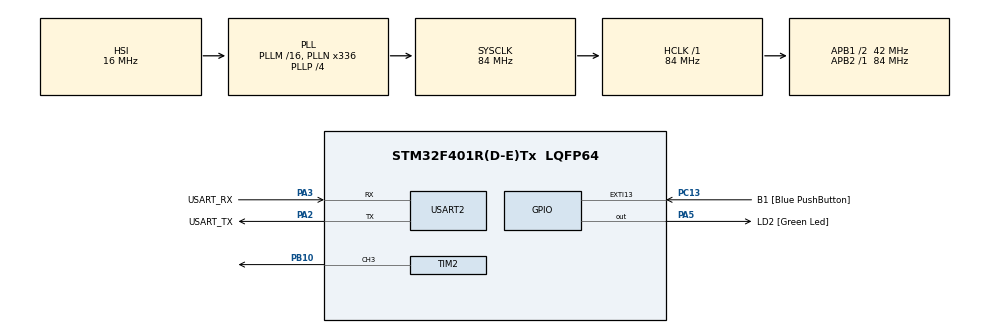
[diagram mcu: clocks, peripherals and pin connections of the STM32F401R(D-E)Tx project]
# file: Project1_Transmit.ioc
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Mcu.Family=STM32F4
Mcu.Name=STM32F401R(D-E)Tx
Mcu.Package=LQFP64
NVIC.PriorityGroup=NVIC_PRIORITYGROUP_0
NVIC.TIM3_IRQn=true\:0\:0\:false\:false\:true\:true\:true\:true
PA13.GPIO_Label=TMS
PA13.Mode=Serial_Wire
PA13.Signal=SYS_JTMS-SWDIO
PA14.GPIO_Label=TCK
PA14.Mode=Serial_Wire
PA14.Signal=SYS_JTCK-SWCLK
PA2.GPIO_Label=USART_TX
PA2.GPIO_Mode=GPIO_MODE_AF_PP
PA2.GPIO_PuPd=GPIO_NOPULL
PA2.GPIO_Speed=GPIO_SPEED_FREQ_LOW
PA2.Mode=Asynchronous
PA2.Signal=USART2_TX
PA3.GPIO_Label=USART_RX
PA3.GPIO_Mode=GPIO_MODE_AF_PP
PA3.GPIO_PuPd=GPIO_NOPULL
PA3.GPIO_Speed=GPIO_SPEED_FREQ_LOW
PA3.Mode=Asynchronous
PA3.Signal=USART2_RX
PA5.GPIO_Label=LD2 [Green Led]
PA5.GPIO_Mode=GPIO_MODE_OUTPUT_PP
PA5.GPIO_PuPd=GPIO_NOPULL
PA5.GPIO_Speed=GPIO_SPEED_FREQ_LOW
PA5.Signal=GPIO_Output
PB10.Signal=S_TIM2_CH3
PB3.GPIO_Label=SWO
PB3.Signal=SYS_JTDO-SWO
PC13-ANTI_TAMP.GPIO_Label=B1 [Blue PushButton]
PC13-ANTI_TAMP.GPIO_ModeDefaultEXTI=GPIO_MODE_IT_FALLING
PC13-ANTI_TAMP.GPIO_PuPd=GPIO_NOPULL
PC13-ANTI_TAMP.Signal=GPXTI13
PC14-OSC32_IN.Mode=LSE-External-Oscillator
PC14-OSC32_IN.Signal=RCC_OSC32_IN
PC15-OSC32_OUT.Mode=LSE-External-Oscillator
PC15-OSC32_OUT.Signal=RCC_OSC32_OUT
PH0\ -\ OSC_IN.Mode=HSE-External-Clock-Source
PH0\ -\ OSC_IN.Signal=RCC_OSC_IN
PH1\ -\ OSC_OUT.Mode=HSE-External-Clock-Source
PH1\ -\ OSC_OUT.Signal=RCC_OSC_OUT
ProjectManager.HeapSize=0x200
ProjectManager.StackSize=0x400
ProjectManager.TargetToolchain=STM32CubeIDE
RCC.48MHZClocksFreq_Value=48000000
RCC.AHBFreq_Value=84000000
RCC.APB1CLKDivider=RCC_HCLK_DIV2
RCC.APB1Freq_Value=42000000
RCC.APB1TimFreq_Value=84000000
RCC.APB2Freq_Value=84000000
RCC.APB2TimFreq_Value=84000000
RCC.CortexFreq_Value=84000000
RCC.HCLKFreq_Value=84000000
RCC.HSE_VALUE=8000000
RCC.HSI_VALUE=16000000
RCC.PLLN=336
RCC.PLLP=RCC_PLLP_DIV4
RCC.PLLQ=7
RCC.SYSCLKFreq_VALUE=84000000
RCC.SYSCLKSource=RCC_SYSCLKSOURCE_PLLCLK
RCC.VCOOutputFreq_Value=336000000
SH.S_TIM2_CH3.0=TIM2_CH3,PWM Generation3 CH3
TIM2.Channel-PWM\ Generation3\ CH3=TIM_CHANNEL_3
TIM2.Period=2210
TIM2.Prescaler=0
TIM2.Pulse-PWM\ Generation3\ CH3=1105
TIM3.Period=35000
TIM3.Prescaler=0
USART2.VirtualMode=VM_ASYNC
VP_TIM2_VS_ClockSourceINT.Mode=Internal
VP_TIM3_VS_ClockSourceINT.Mode=Internal
board=NUCLEO-F401RE

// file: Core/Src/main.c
/* USER CODE BEGIN Header */
/**
  ******************************************************************************
  * @file           : main.c
  * @brief          : Main program body
  ******************************************************************************
  * @attention
  *
  * Copyright (c) 2023 STMicroelectronics.
  * All rights reserved.
  *
  * This software is licensed under terms that can be found in the LICENSE file
  * in the root directory of this software component.
  * If no LICENSE file comes with this software, it is provided AS-IS.
  *
  ******************************************************************************
  */
/* USER CODE END Header */
#include "main.h"

TIM_HandleTypeDef htim2;
TIM_HandleTypeDef htim3;

UART_HandleTypeDef huart2;

/* USER CODE BEGIN PV */
int bitfinished = 0;
/* USER CODE END PV */

void SystemClock_Config(void);
static void MX_GPIO_Init(void);
static void MX_USART2_UART_Init(void);
static void MX_TIM2_Init(void);
static void MX_TIM3_Init(void);

/* USER CODE BEGIN 0 */

void Our_UART_SendByte(char Byte){
	HAL_TIM_Base_Start_IT(&htim3);
	//Send the start bit 0
	HAL_TIM_PWM_Start(&htim2,TIM_CHANNEL_3);
	bitfinished = 0;
	while(bitfinished == 0);
	//Start sending the 8 bits of the byte
	for(int index = 0; index < 8; index++){
		if ((Byte & (0x01 << index)) == 0){
			HAL_TIM_PWM_Start(&htim2,TIM_CHANNEL_3);
		}else{
			HAL_TIM_PWM_Stop(&htim2,TIM_CHANNEL_3);
		}
		bitfinished = 0;
		while(bitfinished == 0);
	}
	//Send the stop bit
	HAL_TIM_PWM_Stop(&htim2,TIM_CHANNEL_3);
	bitfinished = 0;
	while(bitfinished == 0);
	HAL_TIM_Base_Stop_IT(&htim3);
	bitfinished = 0;
}

void Send_Message(char * Message, int size){
	for(int i=0;i<size;i++){
		Our_UART_SendByte(Message[i]);
	}
}

void HAL_TIM_PeriodElapsedCallback(TIM_HandleTypeDef *htim) {
	if(htim == &htim3){
		bitfinished = 1;
	}
}
/* USER CODE END 0 */

int main(void)
{

  /* MCU Configuration--------------------------------------------------------*/

  /* Reset of all peripherals, Initializes the Flash interface and the Systick. */
  HAL_Init();

  /* Configure the system clock */
  SystemClock_Config();

  /* Initialize all configured peripherals */
  MX_GPIO_Init();
  MX_USART2_UART_Init();
  MX_TIM2_Init();
  MX_TIM3_Init();
  /* USER CODE BEGIN 2 */
  char Message[40] = "HuiJiang\r\n";
  /* USER CODE END 2 */

  /* Infinite loop */
  /* USER CODE BEGIN WHILE */
  while (1)
  {
	 Send_Message(Message,sizeof(Message));

    /* USER CODE END WHILE */

  }
}

void SystemClock_Config(void)
{
  RCC_OscInitTypeDef RCC_OscInitStruct = {0};
  RCC_ClkInitTypeDef RCC_ClkInitStruct = {0};

  /** Configure the main internal regulator output voltage
  */
  __HAL_RCC_PWR_CLK_ENABLE();
  __HAL_PWR_VOLTAGESCALING_CONFIG(PWR_REGULATOR_VOLTAGE_SCALE2);

  /** Initializes the RCC Oscillators according to the specified parameters
  * in the RCC_OscInitTypeDef structure.
  */
  RCC_OscInitStruct.OscillatorType = RCC_OSCILLATORTYPE_HSI;
  RCC_OscInitStruct.HSIState = RCC_HSI_ON;
  RCC_OscInitStruct.HSICalibrationValue = RCC_HSICALIBRATION_DEFAULT;
  RCC_OscInitStruct.PLL.PLLState = RCC_PLL_ON;
  RCC_OscInitStruct.PLL.PLLSource = RCC_PLLSOURCE_HSI;
  RCC_OscInitStruct.PLL.PLLM = 16;
  RCC_OscInitStruct.PLL.PLLN = 336;
  RCC_OscInitStruct.PLL.PLLP = RCC_PLLP_DIV4;
  RCC_OscInitStruct.PLL.PLLQ = 7;
  if (HAL_RCC_OscConfig(&RCC_OscInitStruct) != HAL_OK)
  {
    Error_Handler();
  }

  /** Initializes the CPU, AHB and APB buses clocks
  */
  RCC_ClkInitStruct.ClockType = RCC_CLOCKTYPE_HCLK|RCC_CLOCKTYPE_SYSCLK
                              |RCC_CLOCKTYPE_PCLK1|RCC_CLOCKTYPE_PCLK2;
  RCC_ClkInitStruct.SYSCLKSource = RCC_SYSCLKSOURCE_PLLCLK;
  RCC_ClkInitStruct.AHBCLKDivider = RCC_SYSCLK_DIV1;
  RCC_ClkInitStruct.APB1CLKDivider = RCC_HCLK_DIV2;
  RCC_ClkInitStruct.APB2CLKDivider = RCC_HCLK_DIV1;

  if (HAL_RCC_ClockConfig(&RCC_ClkInitStruct, FLASH_LATENCY_2) != HAL_OK)
  {
    Error_Handler();
  }
}

static void MX_TIM2_Init(void)
{

  TIM_ClockConfigTypeDef sClockSourceConfig = {0};
  TIM_MasterConfigTypeDef sMasterConfig = {0};
  TIM_OC_InitTypeDef sConfigOC = {0};

  htim2.Instance = TIM2;
  htim2.Init.Prescaler = 0;
  htim2.Init.CounterMode = TIM_COUNTERMODE_UP;
  htim2.Init.Period = 2210;
  htim2.Init.ClockDivision = TIM_CLOCKDIVISION_DIV1;
  htim2.Init.AutoReloadPreload = TIM_AUTORELOAD_PRELOAD_DISABLE;
  if (HAL_TIM_Base_Init(&htim2) != HAL_OK)
  {
    Error_Handler();
  }
  sClockSourceConfig.ClockSource = TIM_CLOCKSOURCE_INTERNAL;
  if (HAL_TIM_ConfigClockSource(&htim2, &sClockSourceConfig) != HAL_OK)
  {
    Error_Handler();
  }
  if (HAL_TIM_PWM_Init(&htim2) != HAL_OK)
  {
    Error_Handler();
  }
  sMasterConfig.MasterOutputTrigger = TIM_TRGO_RESET;
  sMasterConfig.MasterSlaveMode = TIM_MASTERSLAVEMODE_DISABLE;
  if (HAL_TIMEx_MasterConfigSynchronization(&htim2, &sMasterConfig) != HAL_OK)
  {
    Error_Handler();
  }
  sConfigOC.OCMode = TIM_OCMODE_PWM1;
  sConfigOC.Pulse = 1105;
  sConfigOC.OCPolarity = TIM_OCPOLARITY_HIGH;
  sConfigOC.OCFastMode = TIM_OCFAST_DISABLE;
  if (HAL_TIM_PWM_ConfigChannel(&htim2, &sConfigOC, TIM_CHANNEL_3) != HAL_OK)
  {
    Error_Handler();
  }
  HAL_TIM_MspPostInit(&htim2);

}

static void MX_TIM3_Init(void)
{

  TIM_ClockConfigTypeDef sClockSourceConfig = {0};
  TIM_MasterConfigTypeDef sMasterConfig = {0};

  htim3.Instance = TIM3;
  htim3.Init.Prescaler = 0;
  htim3.Init.CounterMode = TIM_COUNTERMODE_UP;
  htim3.Init.Period = 35000;
  htim3.Init.ClockDivision = TIM_CLOCKDIVISION_DIV1;
  htim3.Init.AutoReloadPreload = TIM_AUTORELOAD_PRELOAD_DISABLE;
  if (HAL_TIM_Base_Init(&htim3) != HAL_OK)
  {
    Error_Handler();
  }
  sClockSourceConfig.ClockSource = TIM_CLOCKSOURCE_INTERNAL;
  if (HAL_TIM_ConfigClockSource(&htim3, &sClockSourceConfig) != HAL_OK)
  {
    Error_Handler();
  }
  sMasterConfig.MasterOutputTrigger = TIM_TRGO_RESET;
  sMasterConfig.MasterSlaveMode = TIM_MASTERSLAVEMODE_DISABLE;
  if (HAL_TIMEx_MasterConfigSynchronization(&htim3, &sMasterConfig) != HAL_OK)
  {
    Error_Handler();
  }

}

static void MX_USART2_UART_Init(void)
{

  huart2.Instance = USART2;
  huart2.Init.BaudRate = 115200;
  huart2.Init.WordLength = UART_WORDLENGTH_8B;
  huart2.Init.StopBits = UART_STOPBITS_1;
  huart2.Init.Parity = UART_PARITY_NONE;
  huart2.Init.Mode = UART_MODE_TX_RX;
  huart2.Init.HwFlowCtl = UART_HWCONTROL_NONE;
  huart2.Init.OverSampling = UART_OVERSAMPLING_16;
  if (HAL_UART_Init(&huart2) != HAL_OK)
  {
    Error_Handler();
  }

}

static void MX_GPIO_Init(void)
{
  GPIO_InitTypeDef GPIO_InitStruct = {0};

  /* GPIO Ports Clock Enable */
  __HAL_RCC_GPIOC_CLK_ENABLE();
  __HAL_RCC_GPIOH_CLK_ENABLE();
  __HAL_RCC_GPIOA_CLK_ENABLE();
  __HAL_RCC_GPIOB_CLK_ENABLE();

  /*Configure GPIO pin Output Level */
  HAL_GPIO_WritePin(LD2_GPIO_Port, LD2_Pin, GPIO_PIN_RESET);

  /*Configure GPIO pin : B1_Pin */
  GPIO_InitStruct.Pin = B1_Pin;
  GPIO_InitStruct.Mode = GPIO_MODE_IT_FALLING;
  GPIO_InitStruct.Pull = GPIO_NOPULL;
  HAL_GPIO_Init(B1_GPIO_Port, &GPIO_InitStruct);

  /*Configure GPIO pin : LD2_Pin */
  GPIO_InitStruct.Pin = LD2_Pin;
  GPIO_InitStruct.Mode = GPIO_MODE_OUTPUT_PP;
  GPIO_InitStruct.Pull = GPIO_NOPULL;
  GPIO_InitStruct.Speed = GPIO_SPEED_FREQ_LOW;
  HAL_GPIO_Init(LD2_GPIO_Port, &GPIO_InitStruct);

}

void Error_Handler(void)
{
  __disable_irq();
  while (1)
  {
  }
}
